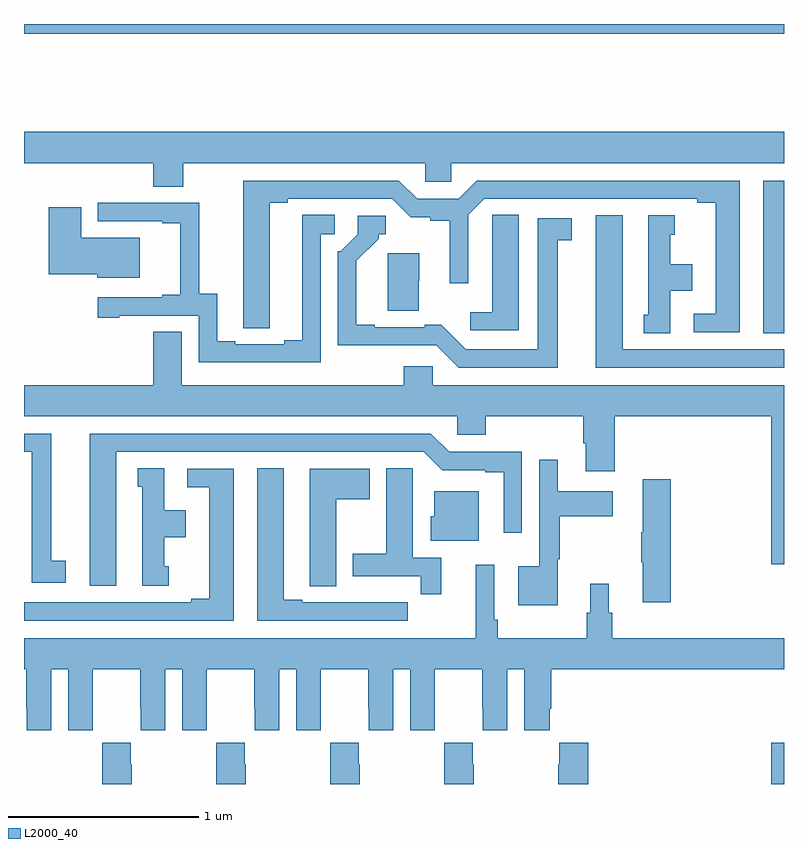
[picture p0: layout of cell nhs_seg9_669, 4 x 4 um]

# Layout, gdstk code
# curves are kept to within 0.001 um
import gdstk
lib = gdstk.Library(unit=1e-6, precision=1e-09)
def R(c, l, rs):  # rectangles x0, y0, x1, y1
    for r in rs: c.add(gdstk.rectangle(r[:2], r[2:], *l))
def P(c, l, *ps):  # polygons
    for p in ps: c.add(gdstk.Polygon(p, *l))
L2000_40 = (2000, 40)

nhs_seg9_669 = lib.new_cell('nhs_seg9_669')
R(nhs_seg9_669, L2000_40, [(148.934,1178.5,149,1178.716), (148.892,1180.873,149,1181.676), (145,1182.448,149,1182.5)])
P(nhs_seg9_669, L2000_40, [(145.839,1181.768),(147.111,1181.768),(147.111,1181.67),(147.249,1181.67),(147.249,1181.768),(149,1181.768),(149,1181.932),(145,1181.932),(145,1181.768),(145.679,1181.768),(145.679,1181.644),(145.839,1181.644)],
  [(148.768,1181.676),(147.383,1181.676),(147.287,1181.58),(147.069,1181.58),(146.973,1181.676),(146.153,1181.676),(146.154,1180.9),(146.293,1180.9),(146.293,1181.56),(146.389,1181.56),(146.389,1181.58),(146.937,1181.58),(147.035,1181.483),(147.138,1181.483),(147.138,1181.464),(147.242,1181.464),(147.242,1181.136),(147.339,1181.136),(147.339,1181.496),(147.423,1181.58),(148.544,1181.58),(148.544,1181.56),(148.64,1181.56),(148.64,1180.974),(148.524,1180.974),(148.524,1180.878),(148.768,1180.878)],
  [(146.562,1181.394),(146.635,1181.394),(146.635,1181.495),(146.465,1181.495),(146.465,1180.835),(146.369,1180.835),(146.369,1180.815),(146.113,1180.815),(146.113,1180.83),(146.017,1180.83),(146.017,1181.081),(145.923,1181.081),(145.923,1181.559),(145.389,1181.559),(145.389,1181.463),(145.727,1181.463),(145.727,1181.451),(145.823,1181.451),(145.823,1181.074),(145.727,1181.074),(145.727,1181.061),(145.389,1181.061),(145.389,1180.953),(145.501,1180.953),(145.501,1180.965),(145.92,1180.965),(145.92,1180.719),(146.562,1180.719)],
  [(145.609,1181.374),(145.3,1181.374),(145.3,1181.536),(145.13,1181.536),(145.13,1181.183),(145.386,1181.183),(145.386,1181.165),(145.609,1181.165)],
  [(147.604,1181.495),(147.465,1181.495),(147.465,1181.387),(147.464,1181.387),(147.464,1180.984),(147.348,1180.984),(147.348,1180.887),(147.604,1180.887)],
  [(148.402,1181.096),(148.516,1181.096),(148.516,1181.236),(148.402,1181.236),(148.402,1181.391),(148.426,1181.391),(148.426,1181.494),(148.286,1181.494),(148.286,1180.971),(148.262,1180.971),(148.262,1180.873),(148.402,1180.873)],
  [(149,1180.788),(148.15,1180.788),(148.15,1181.494),(148.01,1181.494),(148.01,1180.692),(149,1180.692)],
  [(147.808,1181.362),(147.883,1181.362),(147.883,1181.478),(147.704,1181.478),(147.704,1180.788),(147.324,1180.788),(147.196,1180.916),(147.11,1180.916),(147.11,1180.905),(146.845,1180.905),(146.845,1180.918),(146.749,1180.918),(146.749,1181.254),(146.866,1181.371),(146.866,1181.394),(146.905,1181.394),(146.905,1181.49),(146.757,1181.49),(146.757,1181.394),(146.667,1181.304),(146.652,1181.304),(146.652,1180.808),(147.171,1180.809),(147.288,1180.692),(147.808,1180.692)],
  [(147.078,1181.148),(147.079,1181.148),(147.079,1181.293),(146.915,1181.293),(146.915,1180.99),(147.078,1180.99)],
  [(149,1180.6),(147.15,1180.6),(147.15,1180.698),(146.999,1180.698),(146.999,1180.6),(145.831,1180.6),(145.831,1180.88),(145.679,1180.88),(145.679,1180.6),(145,1180.6),(145,1180.436),(147.279,1180.436),(147.279,1180.338),(147.431,1180.338),(147.431,1180.436),(147.944,1180.436),(147.944,1180.294),(147.956,1180.294),(147.956,1180.146),(148.109,1180.146),(148.109,1180.436),(148.934,1180.436),(148.934,1179.657),(149,1179.657)],
  [(145.219,1179.674),(145.144,1179.674),(145.144,1180.344),(145,1180.344),(145,1180.248),(145.04,1180.248),(145.04,1179.558),(145.219,1179.558)],
  [(145.486,1180.248),(147.105,1180.248),(147.201,1180.152),(147.428,1180.152),(147.428,1180.14),(147.524,1180.14),(147.524,1179.822),(147.621,1179.822),(147.621,1180.248),(147.237,1180.248),(147.141,1180.344),(145.346,1180.344),(145.346,1179.543),(145.486,1179.543)],
  [(147.808,1179.684),(147.82,1179.684),(147.82,1179.908),(148.099,1179.908),(148.099,1180.042),(147.808,1180.042),(147.808,1180.207),(147.711,1180.207),(147.711,1179.646),(147.602,1179.646),(147.602,1179.44),(147.808,1179.44)],
  [(147.197,1179.69),(147.046,1179.69),(147.046,1180.052),(147.045,1180.052),(147.045,1180.163),(146.906,1180.163),(146.906,1179.711),(146.729,1179.711),(146.729,1179.594),(147.088,1179.594),(147.088,1179.498),(147.197,1179.498)],
  [(145.762,1179.645),(145.738,1179.645),(145.738,1179.8),(145.852,1179.8),(145.852,1179.94),(145.738,1179.94),(145.738,1180.163),(145.598,1180.163),(145.598,1180.065),(145.622,1180.065),(145.622,1179.543),(145.762,1179.543)],
  [(147.019,1179.456),(146.906,1179.456),(146.906,1179.457),(146.74,1179.457),(146.74,1179.456),(146.464,1179.456),(146.464,1179.471),(146.368,1179.471),(146.368,1180.163),(146.228,1180.163),(146.228,1179.36),(147.019,1179.36)],
  [(146.644,1180),(146.821,1180),(146.821,1180.159),(146.504,1180.159),(146.504,1179.649),(146.505,1179.649),(146.505,1179.541),(146.644,1179.541)],
  [(146.104,1180.158),(145.86,1180.158),(145.86,1180.062),(145.976,1180.062),(145.976,1179.476),(145.88,1179.476),(145.88,1179.456),(145,1179.456),(145,1179.36),(146.104,1179.36)],
  [(148.403,1180.105),(148.256,1180.105),(148.256,1179.824),(148.249,1179.824),(148.249,1179.668),(148.256,1179.668),(148.256,1179.456),(148.403,1179.456)],
  [(147.394,1180.042),(147.158,1180.042),(147.158,1179.909),(147.14,1179.909),(147.14,1179.779),(147.394,1179.779)],
  [(145,1179.104),(145.013,1179.104),(145.013,1178.896),(145.014,1178.896),(145.014,1178.784),(145.144,1178.784),(145.144,1179.104),(145.232,1179.104),(145.232,1178.784),(145.362,1178.784),(145.362,1178.896),(145.363,1178.896),(145.363,1179.104),(145.613,1179.104),(145.613,1178.896),(145.614,1178.896),(145.614,1178.784),(145.744,1178.784),(145.744,1179.104),(145.832,1179.104),(145.832,1178.784),(145.962,1178.784),(145.962,1178.896),(145.963,1178.896),(145.963,1179.104),(146.213,1179.104),(146.213,1178.896),(146.214,1178.896),(146.214,1178.784),(146.344,1178.784),(146.344,1179.104),(146.432,1179.104),(146.432,1178.784),(146.562,1178.784),(146.562,1178.896),(146.563,1178.896),(146.563,1179.104),(146.813,1179.104),(146.813,1178.896),(146.814,1178.896),(146.814,1178.784),(146.944,1178.784),(146.944,1179.104),(147.032,1179.104),(147.032,1178.784),(147.162,1178.784),(147.162,1178.896),(147.163,1178.896),(147.163,1179.104),(147.413,1179.104),(147.413,1178.896),(147.414,1178.896),(147.414,1178.784),(147.544,1178.784),(147.544,1179.104),(147.632,1179.104),(147.632,1178.784),(147.766,1178.784),(147.766,1178.896),(147.776,1178.896),(147.776,1179.104),(149,1179.104),(149,1179.268),(148.097,1179.268),(148.097,1179.402),(148.078,1179.402),(148.078,1179.553),(147.98,1179.553),(147.98,1179.402),(147.961,1179.402),(147.961,1179.268),(147.494,1179.268),(147.494,1179.364),(147.474,1179.364),(147.474,1179.655),(147.377,1179.655),(147.377,1179.268),(145,1179.268)],
  [(147.971,1178.716),(147.817,1178.716),(147.817,1178.603),(147.811,1178.603),(147.811,1178.5),(147.971,1178.5)],
  [(147.366,1178.603),(147.363,1178.603),(147.363,1178.716),(147.213,1178.716),(147.213,1178.603),(147.211,1178.603),(147.211,1178.5),(147.366,1178.5)],
  [(146.766,1178.603),(146.763,1178.603),(146.763,1178.716),(146.613,1178.716),(146.613,1178.603),(146.611,1178.603),(146.611,1178.5),(146.766,1178.5)],
  [(146.166,1178.603),(146.163,1178.603),(146.163,1178.716),(146.013,1178.716),(146.013,1178.603),(146.011,1178.603),(146.011,1178.5),(146.166,1178.5)],
  [(145.566,1178.603),(145.563,1178.603),(145.563,1178.716),(145.413,1178.716),(145.413,1178.603),(145.411,1178.603),(145.411,1178.5),(145.566,1178.5)])

lib.write_gds('nhs_seg9_669.gds')
